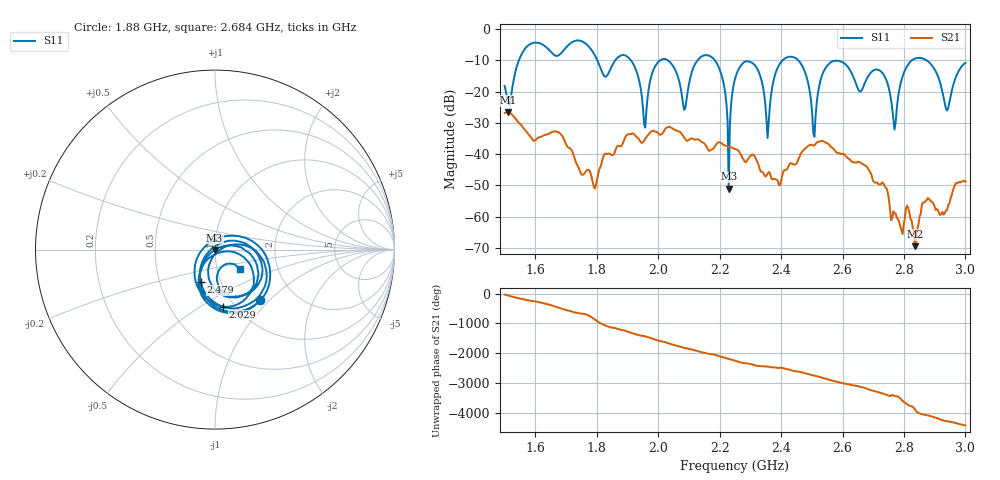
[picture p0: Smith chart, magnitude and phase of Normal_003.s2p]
# HZ S RI R 50
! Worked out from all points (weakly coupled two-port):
!   404 points, 1.5 GHz to 3 GHz, reference 50 ohm
!   highest |S21| = -26.60 dB at 1.511 GHz (marker M1); lowest = -69.4 dB at 2.836 GHz (marker M2)
!   lowest |S11| = -51.0 dB at 2.23 GHz (marker M3), VSWR 1.01, Z = 49.8 - j0.152 ohm
!   |S11| at or under -10 dB: 2.184 GHz to 2.405 GHz (221.3 MHz wide, 9.64 % of centre); 2.455 GHz to 2.826 GHz (370.8 MHz wide, 14 % of centre); 2.873 GHz to end of sweep (the widest 3 of 7)
!   S12 and S22 are empty: the file has one direction only
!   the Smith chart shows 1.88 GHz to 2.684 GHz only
!   S11 on the Smith chart (normalised r, x): 1.88 GHz: 1.33, -0.88; 2.029 GHz: 0.88, -0.63; 2.479 GHz: 0.80, -0.30; 2.684 GHz: 1.28, -0.29
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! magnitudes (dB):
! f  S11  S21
! 1.5 GHz  -18.2  -26.8
! 1.511 GHz  -23.6  -26.6
! 1.578 GHz  -5.2  -33.7
! 1.753 GHz  -4.0  -46.6
! 1.88 GHz  -8.5  -37.5
! 1.958 GHz  -31.5  -35.0
! 2.002 GHz  -10.4  -33.6
! 2.029 GHz  -9.9  -31.5
! 2.084 GHz  -25.8  -34.7
! 2.181 GHz  -9.6  -38.1
! 2.23 GHz  -51.0  -37.7
! 2.252 GHz  -15.4  -38.3
! 2.356 GHz  -34.9  -46.2
! 2.401 GHz  -10.5  -48.3
! 2.479 GHz  -14.1  -38.1
! 2.501 GHz  -26.9  -37.1
! 2.561 GHz  -10.8  -37.6
! 2.684 GHz  -15.1  -44.7
! 2.751 GHz  -18.9  -54.1
! 2.836 GHz  -9.5  -69.4
! 2.94 GHz  -26.1  -57.9
! 3 GHz  -10.9  -48.8
